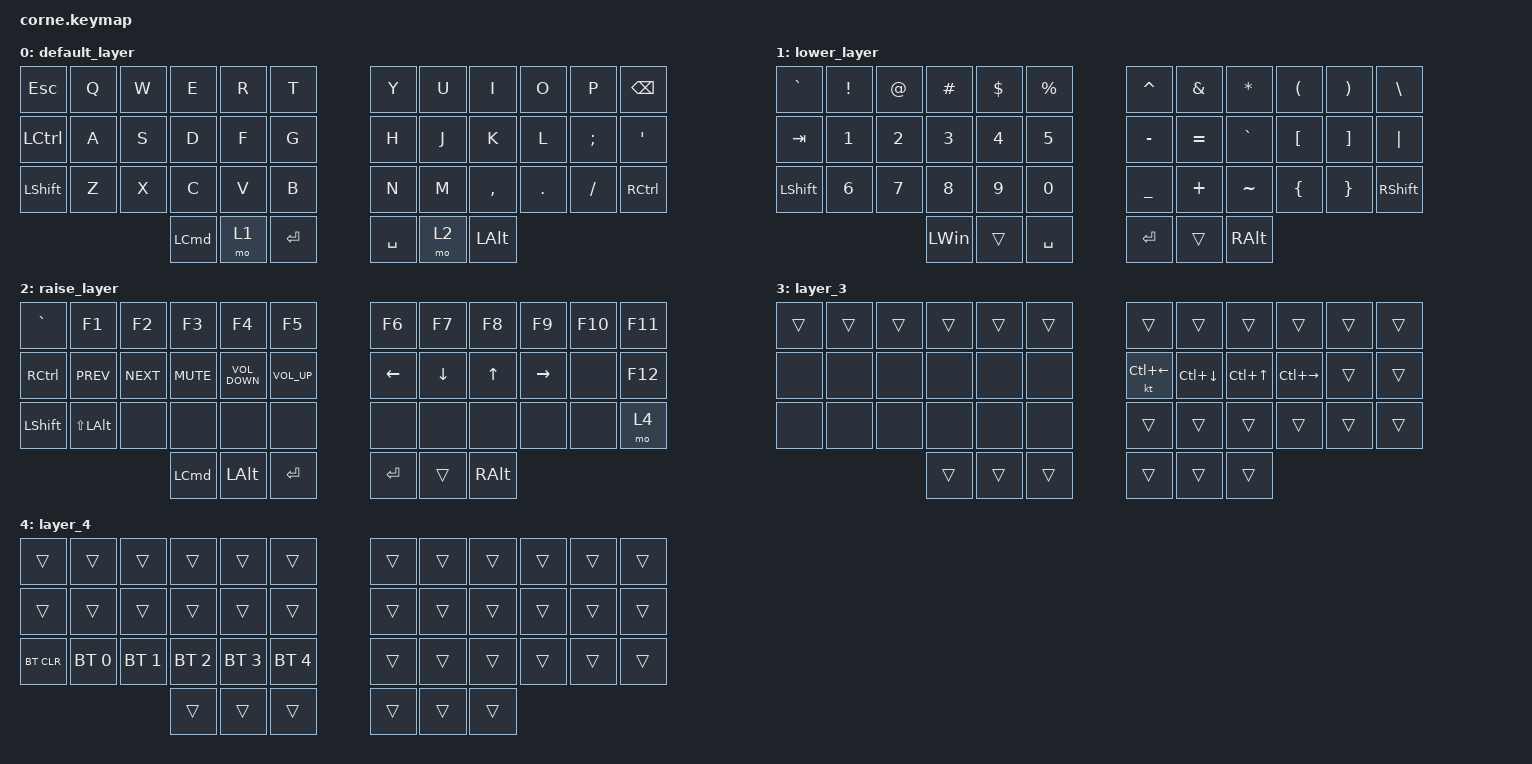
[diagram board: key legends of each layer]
/*
 * Copyright (c) 2020 The ZMK Contributors
 *
 * SPDX-License-Identifier: MIT
 */

#include <behaviors.dtsi>
#include <dt-bindings/zmk/bt.h>
#include <dt-bindings/zmk/keys.h>

/ {
    keymap {
        compatible = "zmk,keymap";

        default_layer {
            // -----------------------------------------------------------------------------------------
            // |  TAB |  Q  |  W  |  E  |  R  |  T  |   |  Y  |  U   |  I  |  O  |  P  | BKSP |
            // | CTRL |  A  |  S  |  D  |  F  |  G  |   |  H  |  J   |  K  |  L  |  ;  |  '   |
            // | SHFT |  Z  |  X  |  C  |  V  |  B  |   |  N  |  M   |  ,  |  .  |  /  | ESC  |
            //                    | GUI | LWR | SPC |   | ENT | RSE  | ALT |

            bindings = <
&kp ESC    &kp Q  &kp W  &kp E             &kp R  &kp T        &kp Y      &kp U  &kp I         &kp O    &kp P     &kp BSPC
&kp LCTRL  &kp A  &kp S  &kp D             &kp F  &kp G        &kp H      &kp J  &kp K         &kp L    &kp SEMI  &kp SQT
&kp LSHFT  &kp Z  &kp X  &kp C             &kp V  &kp B        &kp N      &kp M  &kp COMMA     &kp DOT  &kp FSLH  &kp RCTRL
                         &kp LEFT_COMMAND  &mo 1  &kp ENTER    &kp SPACE  &mo 2  &kp LEFT_ALT
            >;
        };

        lower_layer {
            // -----------------------------------------------------------------------------------------
            // |  TAB |  1  |  2  |  3  |  4  |  5  |   |  6  |  7  |  8  |  9  |  0  | BKSP |
            // | BTCLR| BT1 | BT2 | BT3 | BT4 | BT5 |   | LFT | DWN |  UP | RGT |     |      |
            // | SHFT |     |     |     |     |     |   |     |     |     |     |     |      |
            //                    | GUI |     | SPC |   | ENT |     | ALT |

            bindings = <
&kp GRAVE       &kp EXCLAMATION  &kp AT_SIGN   &kp HASH      &kp DOLLAR    &kp PERCENT     &kp CARET       &kp AMPERSAND  &kp ASTERISK  &kp LEFT_PARENTHESIS  &kp RIGHT_PARENTHESIS  &kp BACKSLASH
&kp TAB         &kp NUMBER_1     &kp NUMBER_2  &kp NUMBER_3  &kp NUMBER_4  &kp NUMBER_5    &kp MINUS       &kp EQUAL      &kp GRAVE     &kp LEFT_BRACKET      &kp RIGHT_BRACKET      &kp PIPE
&kp LEFT_SHIFT  &kp NUMBER_6     &kp NUMBER_7  &kp NUMBER_8  &kp NUMBER_9  &kp NUMBER_0    &kp UNDERSCORE  &kp PLUS       &kp TILDE     &kp LEFT_BRACE        &kp RIGHT_BRACE        &kp RIGHT_SHIFT
                                               &kp LEFT_WIN  &trans        &kp SPACE       &kp RET         &trans         &kp RALT
            >;
        };

        raise_layer {
            // -----------------------------------------------------------------------------------------
            // |  TAB |  !  |  @  |  #  |  $  |  %  |   |  ^  |  &  |  *  |  (  |  )  | BKSP |
            // | CTRL |     |     |     |     |     |   |  -  |  =  |  [  |  ]  |  \  |  `   |
            // | SHFT |     |     |     |     |     |   |  _  |  +  |  {  |  }  | "|" |  ~   |
            //                    | GUI |     | SPC |   | ENT |     | ALT |

            bindings = <
&kp GRAVE       &kp F1        &kp F2      &kp F3            &kp F4             &kp F5             &kp F6          &kp F7          &kp F8        &kp F9           &kp F10  &kp F11
&kp RCTRL       &kp C_PREV    &kp C_NEXT  &kp K_MUTE        &kp C_VOLUME_DOWN  &kp C_VOLUME_UP    &kp LEFT_ARROW  &kp DOWN_ARROW  &kp UP_ARROW  &kp RIGHT_ARROW  &none    &kp F12
&kp LEFT_SHIFT  &kp LS(LALT)  &none       &none             &none              &none              &none           &none           &none         &none            &none    &mo 4
                                          &kp LEFT_COMMAND  &kp LALT           &kp RETURN         &kp RET         &trans          &kp RALT
            >;
        };

        layer_3 {
            bindings = <
&trans  &trans  &trans  &trans  &trans  &trans    &trans              &trans              &trans            &trans               &trans  &trans
&none   &none   &none   &none   &none   &none     &kt LC(LEFT_ARROW)  &kp LC(DOWN_ARROW)  &kp LC(UP_ARROW)  &kp LC(RIGHT_ARROW)  &trans  &trans
&none   &none   &none   &none   &none   &none     &trans              &trans              &trans            &trans               &trans  &trans
                        &trans  &trans  &trans    &trans              &trans              &trans
            >;
        };

        layer_4 {
            bindings = <
&trans      &trans        &trans        &trans        &trans        &trans          &trans  &trans  &trans  &trans  &trans  &trans
&trans      &trans        &trans        &trans        &trans        &trans          &trans  &trans  &trans  &trans  &trans  &trans
&bt BT_CLR  &bt BT_SEL 0  &bt BT_SEL 1  &bt BT_SEL 2  &bt BT_SEL 3  &bt BT_SEL 4    &trans  &trans  &trans  &trans  &trans  &trans
                                        &trans        &trans        &trans          &trans  &trans  &trans
            >;
        };
    };
};
